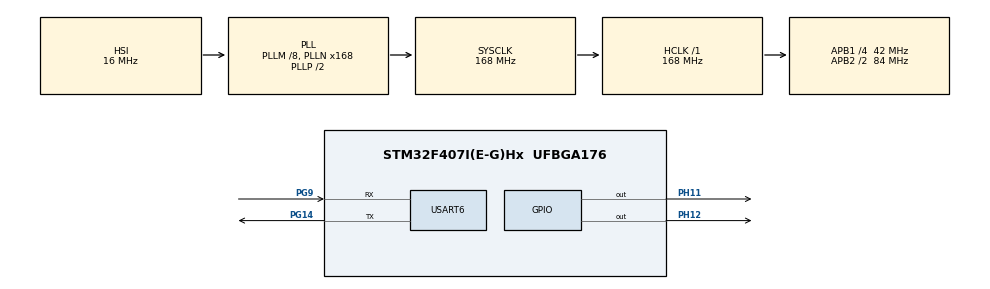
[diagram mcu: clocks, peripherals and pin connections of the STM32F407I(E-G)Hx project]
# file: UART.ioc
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Mcu.Family=STM32F4
Mcu.Name=STM32F407I(E-G)Hx
Mcu.Package=UFBGA176
NVIC.PriorityGroup=NVIC_PRIORITYGROUP_4
NVIC.USART6_IRQn=true\:0\:0\:false\:false\:true\:true\:true\:true
PA13.Mode=Serial_Wire
PA13.Signal=SYS_JTMS-SWDIO
PA14.Mode=Serial_Wire
PA14.Signal=SYS_JTCK-SWCLK
PG14.Mode=Asynchronous
PG14.Signal=USART6_TX
PG9.Mode=Asynchronous
PG9.Signal=USART6_RX
PH0-OSC_IN.Mode=HSE-External-Oscillator
PH0-OSC_IN.Signal=RCC_OSC_IN
PH1-OSC_OUT.Mode=HSE-External-Oscillator
PH1-OSC_OUT.Signal=RCC_OSC_OUT
PH11.PinState=GPIO_PIN_SET
PH11.Signal=GPIO_Output
PH12.PinState=GPIO_PIN_SET
PH12.Signal=GPIO_Output
ProjectManager.HeapSize=0x200
ProjectManager.StackSize=0x400
ProjectManager.TargetToolchain=CMake
RCC.48MHZClocksFreq_Value=84000000
RCC.AHBFreq_Value=168000000
RCC.APB1CLKDivider=RCC_HCLK_DIV4
RCC.APB1Freq_Value=42000000
RCC.APB1TimFreq_Value=84000000
RCC.APB2CLKDivider=RCC_HCLK_DIV2
RCC.APB2Freq_Value=84000000
RCC.APB2TimFreq_Value=168000000
RCC.CortexFreq_Value=168000000
RCC.HCLKFreq_Value=168000000
RCC.HSE_VALUE=12000000
RCC.HSI_VALUE=16000000
RCC.LSE_VALUE=32768
RCC.PLLM=8
RCC.PLLN=168
RCC.SYSCLKFreq_VALUE=168000000
RCC.SYSCLKSource=RCC_SYSCLKSOURCE_PLLCLK
RCC.VCOOutputFreq_Value=336000000
USART6.VirtualMode=VM_ASYNC
board=custom

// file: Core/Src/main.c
/* USER CODE BEGIN Header */
/**
  ******************************************************************************
  * @file           : main.c
  * @brief          : Main program body
  ******************************************************************************
  * @attention
  *
  * Copyright (c) 2026 STMicroelectronics.
  * All rights reserved.
  *
  * This software is licensed under terms that can be found in the LICENSE file
  * in the root directory of this software component.
  * If no LICENSE file comes with this software, it is provided AS-IS.
  *
  ******************************************************************************
  */
/* USER CODE END Header */
#include "main.h"

/* USER CODE BEGIN PD */
#define LED_ON  GPIO_PIN_SET
#define LED_OFF GPIO_PIN_RESET
#define RX_QUEUE_SIZE 256U
/* USER CODE END PD */

UART_HandleTypeDef huart6;

/* USER CODE BEGIN PV */
static uint8_t rx_byte;
static uint8_t selected_led = 0;
/* One interrupt producer and one main-loop consumer. */
static volatile uint8_t rx_queue[RX_QUEUE_SIZE];
static volatile uint16_t rx_head = 0;
static volatile uint16_t rx_tail = 0;
static volatile uint8_t rx_fault = 0;
/* USER CODE END PV */

void SystemClock_Config(void);
static void MX_GPIO_Init(void);
static void MX_USART6_UART_Init(void);

/* USER CODE BEGIN 0 */
static void ProcessCommand(uint8_t byte)
{
    /* First character: select a colour. */
    if (byte == 'R' || byte == 'G')
    {
        selected_led = byte;
        return;
    }

    if (byte == '0' || byte == '1')
    {
        GPIO_PinState level =
            (byte == '1') ? LED_ON : LED_OFF;

        if (selected_led == 'R')
        {
            HAL_GPIO_WritePin(GPIOH, GPIO_PIN_12, level);
        }
        else if (selected_led == 'G')
        {
            HAL_GPIO_WritePin(GPIOH, GPIO_PIN_11, level);
        }
    }
    selected_led = 0;
}

/* Called only from the UART receive callback. */
static void QueuePush(uint8_t byte)
{
    uint16_t next = (uint16_t)((rx_head + 1U) % RX_QUEUE_SIZE);

    if (next == rx_tail)
    {
        rx_fault = 1; /* Full: stop rather than silently overwrite commands. */
        return;
    }

    rx_queue[rx_head] = byte;
    rx_head = next;
}

/* Called only from the main loop. */
static uint8_t QueuePop(uint8_t *byte)
{
    if (rx_tail == rx_head)
    {
        return 0;
    }

    *byte = rx_queue[rx_tail];
    rx_tail = (uint16_t)((rx_tail + 1U) % RX_QUEUE_SIZE);
    return 1;
}
/* USER CODE END 0 */

int main(void)
{

  /* MCU Configuration--------------------------------------------------------*/

  /* Reset of all peripherals, Initializes the Flash interface and the Systick. */
  HAL_Init();

  /* Configure the system clock */
  SystemClock_Config();

  /* Initialize all configured peripherals */
  MX_GPIO_Init();
  MX_USART6_UART_Init();
  /* USER CODE BEGIN 2 */
  HAL_GPIO_WritePin(GPIOH, GPIO_PIN_12, LED_OFF);
  HAL_GPIO_WritePin(GPIOH, GPIO_PIN_11, LED_OFF);
  if (HAL_UART_Receive_IT(&huart6, &rx_byte, 1) != HAL_OK)
  {
    Error_Handler();
  }
  /* USER CODE END 2 */

  /* Infinite loop */
  while (1)
  {

    /* USER CODE BEGIN 3 */
    uint8_t byte;

    if (rx_fault)
    {
      Error_Handler();
    }

    if (QueuePop(&byte))
    {
      /* Keep blocking transmission and command handling out of the ISR. */
      if (HAL_UART_Transmit(&huart6, &byte, 1, 100) != HAL_OK)
      {
        Error_Handler();
      }
      ProcessCommand(byte);
    }
  }
  /* USER CODE END 3 */
}

void SystemClock_Config(void)
{
  RCC_OscInitTypeDef RCC_OscInitStruct = {0};
  RCC_ClkInitTypeDef RCC_ClkInitStruct = {0};

  /** Configure the main internal regulator output voltage
  */
  __HAL_RCC_PWR_CLK_ENABLE();
  __HAL_PWR_VOLTAGESCALING_CONFIG(PWR_REGULATOR_VOLTAGE_SCALE1);

  /** Initializes the RCC Oscillators according to the specified parameters
  * in the RCC_OscInitTypeDef structure.
  */
  RCC_OscInitStruct.OscillatorType = RCC_OSCILLATORTYPE_HSI;
  RCC_OscInitStruct.HSIState = RCC_HSI_ON;
  RCC_OscInitStruct.HSICalibrationValue = RCC_HSICALIBRATION_DEFAULT;
  RCC_OscInitStruct.PLL.PLLState = RCC_PLL_ON;
  RCC_OscInitStruct.PLL.PLLSource = RCC_PLLSOURCE_HSI;
  RCC_OscInitStruct.PLL.PLLM = 8;
  RCC_OscInitStruct.PLL.PLLN = 168;
  RCC_OscInitStruct.PLL.PLLP = RCC_PLLP_DIV2;
  RCC_OscInitStruct.PLL.PLLQ = 4;
  if (HAL_RCC_OscConfig(&RCC_OscInitStruct) != HAL_OK)
  {
    Error_Handler();
  }

  /** Initializes the CPU, AHB and APB buses clocks
  */
  RCC_ClkInitStruct.ClockType = RCC_CLOCKTYPE_HCLK|RCC_CLOCKTYPE_SYSCLK
                              |RCC_CLOCKTYPE_PCLK1|RCC_CLOCKTYPE_PCLK2;
  RCC_ClkInitStruct.SYSCLKSource = RCC_SYSCLKSOURCE_PLLCLK;
  RCC_ClkInitStruct.AHBCLKDivider = RCC_SYSCLK_DIV1;
  RCC_ClkInitStruct.APB1CLKDivider = RCC_HCLK_DIV4;
  RCC_ClkInitStruct.APB2CLKDivider = RCC_HCLK_DIV2;

  if (HAL_RCC_ClockConfig(&RCC_ClkInitStruct, FLASH_LATENCY_5) != HAL_OK)
  {
    Error_Handler();
  }
}

static void MX_USART6_UART_Init(void)
{

  huart6.Instance = USART6;
  huart6.Init.BaudRate = 115200;
  huart6.Init.WordLength = UART_WORDLENGTH_8B;
  huart6.Init.StopBits = UART_STOPBITS_1;
  huart6.Init.Parity = UART_PARITY_NONE;
  huart6.Init.Mode = UART_MODE_TX_RX;
  huart6.Init.HwFlowCtl = UART_HWCONTROL_NONE;
  huart6.Init.OverSampling = UART_OVERSAMPLING_16;
  if (HAL_UART_Init(&huart6) != HAL_OK)
  {
    Error_Handler();
  }

}

static void MX_GPIO_Init(void)
{
  GPIO_InitTypeDef GPIO_InitStruct = {0};

  /* GPIO Ports Clock Enable */
  __HAL_RCC_GPIOG_CLK_ENABLE();
  __HAL_RCC_GPIOA_CLK_ENABLE();
  __HAL_RCC_GPIOH_CLK_ENABLE();

  /*Configure GPIO pin Output Level */
  HAL_GPIO_WritePin(GPIOH, GPIO_PIN_12|GPIO_PIN_11, GPIO_PIN_SET);

  /*Configure GPIO pins : PH12 PH11 */
  GPIO_InitStruct.Pin = GPIO_PIN_12|GPIO_PIN_11;
  GPIO_InitStruct.Mode = GPIO_MODE_OUTPUT_PP;
  GPIO_InitStruct.Pull = GPIO_NOPULL;
  GPIO_InitStruct.Speed = GPIO_SPEED_FREQ_LOW;
  HAL_GPIO_Init(GPIOH, &GPIO_InitStruct);

}

/* USER CODE BEGIN 4 */
void HAL_UART_RxCpltCallback(UART_HandleTypeDef *huart)
{
  if (huart->Instance != USART6)
  {
    return;
  }

  QueuePush(rx_byte);
  /* Each one-byte interrupt reception must be armed again. */
  if (HAL_UART_Receive_IT(huart, &rx_byte, 1) != HAL_OK)
  {
    rx_fault = 1;
  }
}

void HAL_UART_ErrorCallback(UART_HandleTypeDef *huart)
{
  if (huart->Instance == USART6)
  {
    rx_fault = 1;
  }
}
/* USER CODE END 4 */

void Error_Handler(void)
{
  __disable_irq();
  while (1)
  {
  }
}
